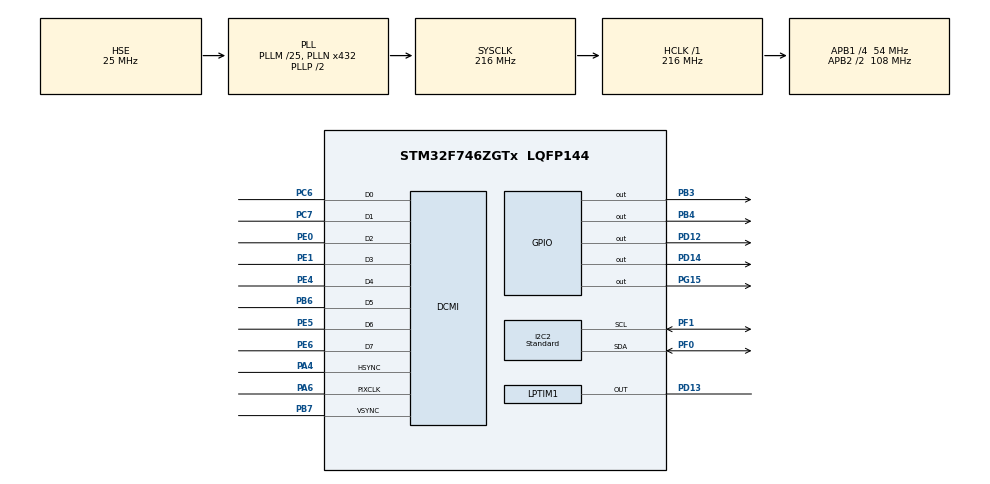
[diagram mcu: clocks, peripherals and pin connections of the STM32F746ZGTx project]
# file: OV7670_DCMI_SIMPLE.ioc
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CORTEX_M7.ART_ACCLERATOR_ENABLE=0
CORTEX_M7.CPU_DCache=Enabled
CORTEX_M7.CPU_ICache=Enabled
CORTEX_M7.PREFETCH_ENABLE=1
DCMI.PCKPolarity=DCMI_PCKPOLARITY_RISING
DCMI.VSPolarity=DCMI_VSPOLARITY_HIGH
Dma.DCMI.0.Direction=DMA_PERIPH_TO_MEMORY
Dma.DCMI.0.FIFOMode=DMA_FIFOMODE_DISABLE
Dma.DCMI.0.Instance=DMA2_Stream1
Dma.DCMI.0.MemDataAlignment=DMA_MDATAALIGN_WORD
Dma.DCMI.0.MemInc=DMA_MINC_ENABLE
Dma.DCMI.0.Mode=DMA_NORMAL
Dma.DCMI.0.PeriphDataAlignment=DMA_PDATAALIGN_WORD
Dma.DCMI.0.PeriphInc=DMA_PINC_DISABLE
Dma.DCMI.0.Priority=DMA_PRIORITY_LOW
Dma.Request0=DCMI
I2C2.Analog_Filter=I2C_ANALOGFILTER_DISABLE
I2C2.I2C_Speed_Mode=I2C_Standard
I2C2.Timing=0x10606AA0
LPTIM1.ClockPrescaler=LPTIM_PRESCALER_DIV1
Mcu.Family=STM32F7
Mcu.Name=STM32F746ZGTx
Mcu.Package=LQFP144
NVIC.DCMI_IRQn=true\:0\:0\:true\:false\:true\:true\:true
NVIC.DMA2_Stream1_IRQn=true\:0\:0\:true\:false\:true\:false\:true
NVIC.PriorityGroup=NVIC_PRIORITYGROUP_4
PA4.GPIO_PuPd=GPIO_PULLDOWN
PA4.GPIO_Speed=GPIO_SPEED_FREQ_VERY_HIGH
PA4.Mode=Slave_8_bits_External_Synchro
PA4.Signal=DCMI_HSYNC
PA6.GPIO_PuPd=GPIO_PULLDOWN
PA6.GPIO_Speed=GPIO_SPEED_FREQ_VERY_HIGH
PA6.Mode=Slave_8_bits_External_Synchro
PA6.Signal=DCMI_PIXCLK
PB3.Signal=GPIO_Output
PB4.Signal=GPIO_Output
PB6.GPIO_PuPd=GPIO_PULLDOWN
PB6.GPIO_Speed=GPIO_SPEED_FREQ_VERY_HIGH
PB6.Mode=Slave_8_bits_External_Synchro
PB6.Signal=DCMI_D5
PB7.GPIO_PuPd=GPIO_PULLDOWN
PB7.GPIO_Speed=GPIO_SPEED_FREQ_VERY_HIGH
PB7.Mode=Slave_8_bits_External_Synchro
PB7.Signal=DCMI_VSYNC
PC6.GPIO_PuPd=GPIO_PULLDOWN
PC6.GPIO_Speed=GPIO_SPEED_FREQ_VERY_HIGH
PC6.Mode=Slave_8_bits_External_Synchro
PC6.Signal=DCMI_D0
PC7.GPIO_PuPd=GPIO_PULLDOWN
PC7.GPIO_Speed=GPIO_SPEED_FREQ_VERY_HIGH
PC7.Mode=Slave_8_bits_External_Synchro
PC7.Signal=DCMI_D1
PD12.GPIO_PuPd=GPIO_PULLUP
PD12.Signal=GPIO_Output
PD13.GPIO_Speed=GPIO_SPEED_FREQ_VERY_HIGH
PD13.Mode=WaveformGeneration
PD13.Signal=LPTIM1_OUT
PD14.GPIO_PuPd=GPIO_PULLUP
PD14.Signal=GPIO_Output
PE0.GPIO_PuPd=GPIO_PULLDOWN
PE0.GPIO_Speed=GPIO_SPEED_FREQ_VERY_HIGH
PE0.Mode=Slave_8_bits_External_Synchro
PE0.Signal=DCMI_D2
PE1.GPIO_PuPd=GPIO_PULLDOWN
PE1.GPIO_Speed=GPIO_SPEED_FREQ_VERY_HIGH
PE1.Mode=Slave_8_bits_External_Synchro
PE1.Signal=DCMI_D3
PE4.GPIO_PuPd=GPIO_PULLDOWN
PE4.GPIO_Speed=GPIO_SPEED_FREQ_VERY_HIGH
PE4.Mode=Slave_8_bits_External_Synchro
PE4.Signal=DCMI_D4
PE5.GPIO_PuPd=GPIO_PULLDOWN
PE5.GPIO_Speed=GPIO_SPEED_FREQ_VERY_HIGH
PE5.Mode=Slave_8_bits_External_Synchro
PE5.Signal=DCMI_D6
PE6.GPIO_PuPd=GPIO_PULLDOWN
PE6.GPIO_Speed=GPIO_SPEED_FREQ_VERY_HIGH
PE6.Mode=Slave_8_bits_External_Synchro
PE6.Signal=DCMI_D7
PF0.Mode=I2C
PF0.Signal=I2C2_SDA
PF1.Mode=I2C
PF1.Signal=I2C2_SCL
PG15.Signal=GPIO_Output
PH0/OSC_IN.Mode=HSE-External-Oscillator
PH0/OSC_IN.Signal=RCC_OSC_IN
PH1/OSC_OUT.Mode=HSE-External-Oscillator
PH1/OSC_OUT.Signal=RCC_OSC_OUT
ProjectManager.HeapSize=0x200
ProjectManager.StackSize=0x400
ProjectManager.TargetToolchain=STM32CubeIDE
RCC.AHBFreq_Value=216000000
RCC.APB1CLKDivider=RCC_HCLK_DIV4
RCC.APB1Freq_Value=54000000
RCC.APB1TimFreq_Value=108000000
RCC.APB2CLKDivider=RCC_HCLK_DIV2
RCC.APB2Freq_Value=108000000
RCC.APB2TimFreq_Value=216000000
RCC.CortexFreq_Value=216000000
RCC.HCLKFreq_Value=216000000
RCC.HSE_VALUE=25000000
RCC.HSI_VALUE=16000000
RCC.LSE_VALUE=32768
RCC.PLLM=25
RCC.PLLN=432
RCC.PLLQ=9
RCC.PLLSourceVirtual=RCC_PLLSOURCE_HSE
RCC.SDMMCClockSelection=RCC_SDMMC1CLKSOURCE_CLK48
RCC.SYSCLKFreq_VALUE=216000000
RCC.SYSCLKSource=RCC_SYSCLKSOURCE_PLLCLK
RCC.USBFreq_Value=48000000
RCC.VCOOutputFreq_Value=432000000
VP_LPTIM1_VS_LPTIM_counterModeInternalClock.Mode=Counts__internal_clock_event_00
board=custom

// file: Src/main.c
/* USER CODE BEGIN Header */
/**
  ******************************************************************************
  * @file           : main.c
  * @brief          : Main program body
  ******************************************************************************
  * @attention
  *
  * <h2><center>&copy; Copyright (c) 2021 STMicroelectronics.
  * All rights reserved.</center></h2>
  *
  * This software component is licensed by ST under Ultimate Liberty license
  * SLA0044, the "License"; You may not use this file except in compliance with
  * the License. You may obtain a copy of the License at:
  *                             www.st.com/SLA0044
  *
  ******************************************************************************
  */
/* USER CODE END Header */

#include "main.h"

/* USER CODE BEGIN Includes */
#include <string.h>
#include <stdio.h>
#include <stdint.h>
#include <stdbool.h>
//Hardware
#include "SSD1963.h"
#include "OV7670.h"

#include "color_conversion.h"
/* USER CODE END Includes */

DCMI_HandleTypeDef hdcmi;
DMA_HandleTypeDef hdma_dcmi;

I2C_HandleTypeDef hi2c2;

LPTIM_HandleTypeDef hlptim1;

/* USER CODE BEGIN PV */
#define X_START 0
#define	Y_START 0
#define PX_SIZE 2

uint32_t image_data[352*144]; //max resolution is CIF

Camera_settings OV7670_settings={
		QVGA, 		//Resolution
		YUV422, 	//Format
		NORMAL, 	//Effect
		ON,			//AEC
		ON, 		//AGC
		ON, 		//AWB
		OFF,		//Color bar
		OFF,		//vertical flip
		OFF,		//Horizontal flip
		OFF,		//Night mode
		OFF,		//ASC
		ON,			//De-noise
		ON,			//Banding filter
		HISTOGRAM,	//AEC algorithm
		QUARTER_FPS,//Min. fps in night mode
		F_AUTO,		//Auto detect banding freq.
		256, 		//Exposure - 2 bytes
		4, 			//Gain	[0-7]=[1-128]
		160,		//Brightness - byte
		64, 		//Contrast - byte
		80, 		//Saturation - byte
		2,			//Sharpness	- [0-31]
		0,			//De-noise strength - byte
		x16, 		//Gain ceiling
		77, 		//R channel gain - byte
		103, 		//G channel gain - byte
		153			//B channel gain - byte
};

uint16_t i,j,k,pw,ph;
uint32_t temp=0;
int16_t Y1=0,Y2=0,U=0,V=0;
uint16_t width, height;
uint8_t format;
/* Private variables ---------------------------------------------------------*/
/* USER CODE END PV */

void SystemClock_Config(void);
static void MX_GPIO_Init(void);
static void MX_DMA_Init(void);
static void MX_I2C2_Init(void);
static void MX_DCMI_Init(void);
static void MX_LPTIM1_Init(void);
/* USER CODE BEGIN PFP */

/* Private function prototypes -----------------------------------------------*/

/* USER CODE END PFP */

int main(void)
{

  /* Enable I-Cache---------------------------------------------------------*/
  SCB_EnableICache();

  /* Enable D-Cache---------------------------------------------------------*/
  SCB_EnableDCache();

  /* MCU Configuration--------------------------------------------------------*/

  /* Reset of all peripherals, Initializes the Flash interface and the Systick. */
  HAL_Init();

  /* Configure the system clock */
  SystemClock_Config();

  /* Initialize all configured peripherals */
  MX_GPIO_Init();
  MX_DMA_Init();
  MX_I2C2_Init();
  MX_DCMI_Init();
  MX_LPTIM1_Init();
  /* USER CODE BEGIN 2 */

  OV7670_Power(DISABLE);
  Init_LCD_GPIO();
  SSD1963_Init();
  SSD1963_ClearScreen(0);
  //I2C2 is used for SCCB and LPTIM1 for XLCK generation
  OV7670_Init(&hdcmi, &hdma_dcmi, &hi2c2, &hlptim1);

  OV7670_PowerUp();
  OV7670_UpdateSettings(OV7670_settings);
  OV7670_SetFrameRate(XCLK_DIV(1), PLL_x4);
  HAL_Delay(10);

  OV7670_Start(CONTINUOUS, image_data);
  OV7670_getImageInfo(&width,&height,&format);
  HAL_Delay(100);

  /* USER CODE END 2 */

  /* Infinite loop */
  while (1)
  {

    /* USER CODE BEGIN 3 */

	for(k=0;k<2;k++) //interleved drawing - image looks more fluent
	{
		for(i=k;i<height;i++)
		{
			//Write directly to display (SSD1963), don't use GUI - FASTEST!!!
			SSD1963_SetArea(X_START, X_START+(width*PX_SIZE)-1, Y_START+i*PX_SIZE, Y_START+(i+1)*PX_SIZE);
			SSD1963_WriteCommand(SSD1963_WRITE_MEMORY_START);

			for(ph=0;ph<PX_SIZE;ph++)
			{
				for(j = 0; j < (((width)/2)); j++)
				{
					temp=image_data[j+i*(width/2)];  // temp contains 2 pixel values

					if(format==YUV422)	//YUV422
					{
						//Extract YUV
						  Y2=(temp>>24)&0x00FF;
						  U=((temp>>16)&0x00FF)-128;
						  Y1=(temp>>8)&0x00FF;
						  V=(temp&0x00FF)-128;
						  for(pw=0;pw<PX_SIZE;pw++)SSD1963_WriteData(YUVtoRGB565(Y1,U,V));
						  for(pw=0;pw<PX_SIZE;pw++)SSD1963_WriteData(YUVtoRGB565(Y2,U,V));
					}
					else				//RGB565
					{
						for(pw=0;pw<PX_SIZE;pw++)SSD1963_WriteData(temp&0xFFFF);
						for(pw=0;pw<PX_SIZE;pw++)SSD1963_WriteData((temp>>16)&0xFFFF);
					}
				}
			}
			i++; //skip 1 line - interleved drawing
		}
	}
}
  /* USER CODE END 3 */
}

void SystemClock_Config(void)
{
  RCC_OscInitTypeDef RCC_OscInitStruct = {0};
  RCC_ClkInitTypeDef RCC_ClkInitStruct = {0};
  RCC_PeriphCLKInitTypeDef PeriphClkInitStruct = {0};

  /** Configure the main internal regulator output voltage
  */
  __HAL_RCC_PWR_CLK_ENABLE();
  __HAL_PWR_VOLTAGESCALING_CONFIG(PWR_REGULATOR_VOLTAGE_SCALE1);
  /** Initializes the CPU, AHB and APB busses clocks
  */
  RCC_OscInitStruct.OscillatorType = RCC_OSCILLATORTYPE_HSE;
  RCC_OscInitStruct.HSEState = RCC_HSE_ON;
  RCC_OscInitStruct.PLL.PLLState = RCC_PLL_ON;
  RCC_OscInitStruct.PLL.PLLSource = RCC_PLLSOURCE_HSE;
  RCC_OscInitStruct.PLL.PLLM = 25;
  RCC_OscInitStruct.PLL.PLLN = 432;
  RCC_OscInitStruct.PLL.PLLP = RCC_PLLP_DIV2;
  RCC_OscInitStruct.PLL.PLLQ = 9;
  if (HAL_RCC_OscConfig(&RCC_OscInitStruct) != HAL_OK)
  {
    Error_Handler();
  }
  /** Activate the Over-Drive mode
  */
  if (HAL_PWREx_EnableOverDrive() != HAL_OK)
  {
    Error_Handler();
  }
  /** Initializes the CPU, AHB and APB busses clocks
  */
  RCC_ClkInitStruct.ClockType = RCC_CLOCKTYPE_HCLK|RCC_CLOCKTYPE_SYSCLK
                              |RCC_CLOCKTYPE_PCLK1|RCC_CLOCKTYPE_PCLK2;
  RCC_ClkInitStruct.SYSCLKSource = RCC_SYSCLKSOURCE_PLLCLK;
  RCC_ClkInitStruct.AHBCLKDivider = RCC_SYSCLK_DIV1;
  RCC_ClkInitStruct.APB1CLKDivider = RCC_HCLK_DIV4;
  RCC_ClkInitStruct.APB2CLKDivider = RCC_HCLK_DIV2;

  if (HAL_RCC_ClockConfig(&RCC_ClkInitStruct, FLASH_LATENCY_7) != HAL_OK)
  {
    Error_Handler();
  }
  PeriphClkInitStruct.PeriphClockSelection = RCC_PERIPHCLK_LPTIM1|RCC_PERIPHCLK_I2C2;
  PeriphClkInitStruct.I2c2ClockSelection = RCC_I2C2CLKSOURCE_PCLK1;
  PeriphClkInitStruct.Lptim1ClockSelection = RCC_LPTIM1CLKSOURCE_PCLK;
  if (HAL_RCCEx_PeriphCLKConfig(&PeriphClkInitStruct) != HAL_OK)
  {
    Error_Handler();
  }
}

static void MX_DCMI_Init(void)
{

  hdcmi.Instance = DCMI;
  hdcmi.Init.SynchroMode = DCMI_SYNCHRO_HARDWARE;
  hdcmi.Init.PCKPolarity = DCMI_PCKPOLARITY_RISING;
  hdcmi.Init.VSPolarity = DCMI_VSPOLARITY_HIGH;
  hdcmi.Init.HSPolarity = DCMI_HSPOLARITY_LOW;
  hdcmi.Init.CaptureRate = DCMI_CR_ALL_FRAME;
  hdcmi.Init.ExtendedDataMode = DCMI_EXTEND_DATA_8B;
  hdcmi.Init.JPEGMode = DCMI_JPEG_DISABLE;
  hdcmi.Init.ByteSelectMode = DCMI_BSM_ALL;
  hdcmi.Init.ByteSelectStart = DCMI_OEBS_ODD;
  hdcmi.Init.LineSelectMode = DCMI_LSM_ALL;
  hdcmi.Init.LineSelectStart = DCMI_OELS_ODD;
  if (HAL_DCMI_Init(&hdcmi) != HAL_OK)
  {
    Error_Handler();
  }

}

static void MX_I2C2_Init(void)
{

  hi2c2.Instance = I2C2;
  hi2c2.Init.Timing = 0x10606AA0;
  hi2c2.Init.OwnAddress1 = 0;
  hi2c2.Init.AddressingMode = I2C_ADDRESSINGMODE_7BIT;
  hi2c2.Init.DualAddressMode = I2C_DUALADDRESS_DISABLE;
  hi2c2.Init.OwnAddress2 = 0;
  hi2c2.Init.OwnAddress2Masks = I2C_OA2_NOMASK;
  hi2c2.Init.GeneralCallMode = I2C_GENERALCALL_DISABLE;
  hi2c2.Init.NoStretchMode = I2C_NOSTRETCH_DISABLE;
  if (HAL_I2C_Init(&hi2c2) != HAL_OK)
  {
    Error_Handler();
  }
  /** Configure Analogue filter
  */
  if (HAL_I2CEx_ConfigAnalogFilter(&hi2c2, I2C_ANALOGFILTER_DISABLE) != HAL_OK)
  {
    Error_Handler();
  }
  /** Configure Digital filter
  */
  if (HAL_I2CEx_ConfigDigitalFilter(&hi2c2, 0) != HAL_OK)
  {
    Error_Handler();
  }

}

static void MX_LPTIM1_Init(void)
{

  hlptim1.Instance = LPTIM1;
  hlptim1.Init.Clock.Source = LPTIM_CLOCKSOURCE_APBCLOCK_LPOSC;
  hlptim1.Init.Clock.Prescaler = LPTIM_PRESCALER_DIV1;
  hlptim1.Init.Trigger.Source = LPTIM_TRIGSOURCE_SOFTWARE;
  hlptim1.Init.OutputPolarity = LPTIM_OUTPUTPOLARITY_HIGH;
  hlptim1.Init.UpdateMode = LPTIM_UPDATE_IMMEDIATE;
  hlptim1.Init.CounterSource = LPTIM_COUNTERSOURCE_INTERNAL;
  if (HAL_LPTIM_Init(&hlptim1) != HAL_OK)
  {
    Error_Handler();
  }

}

static void MX_DMA_Init(void)
{

  /* DMA controller clock enable */
  __HAL_RCC_DMA2_CLK_ENABLE();

  /* DMA interrupt init */
  /* DMA2_Stream1_IRQn interrupt configuration */
  HAL_NVIC_SetPriority(DMA2_Stream1_IRQn, 0, 0);
  HAL_NVIC_EnableIRQ(DMA2_Stream1_IRQn);

}

static void MX_GPIO_Init(void)
{
  GPIO_InitTypeDef GPIO_InitStruct = {0};

  /* GPIO Ports Clock Enable */
  __HAL_RCC_GPIOE_CLK_ENABLE();
  __HAL_RCC_GPIOF_CLK_ENABLE();
  __HAL_RCC_GPIOH_CLK_ENABLE();
  __HAL_RCC_GPIOA_CLK_ENABLE();
  __HAL_RCC_GPIOD_CLK_ENABLE();
  __HAL_RCC_GPIOC_CLK_ENABLE();
  __HAL_RCC_GPIOG_CLK_ENABLE();
  __HAL_RCC_GPIOB_CLK_ENABLE();

  /*Configure GPIO pin Output Level */
  HAL_GPIO_WritePin(GPIOD, GPIO_PIN_12|GPIO_PIN_14, GPIO_PIN_RESET);

  /*Configure GPIO pin Output Level */
  HAL_GPIO_WritePin(GPIOG, GPIO_PIN_15, GPIO_PIN_RESET);

  /*Configure GPIO pin Output Level */
  HAL_GPIO_WritePin(GPIOB, GPIO_PIN_3|GPIO_PIN_4, GPIO_PIN_RESET);

  /*Configure GPIO pins : PD12 PD14 */
  GPIO_InitStruct.Pin = GPIO_PIN_12|GPIO_PIN_14;
  GPIO_InitStruct.Mode = GPIO_MODE_OUTPUT_PP;
  GPIO_InitStruct.Pull = GPIO_PULLUP;
  GPIO_InitStruct.Speed = GPIO_SPEED_FREQ_LOW;
  HAL_GPIO_Init(GPIOD, &GPIO_InitStruct);

  /*Configure GPIO pin : PG15 */
  GPIO_InitStruct.Pin = GPIO_PIN_15;
  GPIO_InitStruct.Mode = GPIO_MODE_OUTPUT_PP;
  GPIO_InitStruct.Pull = GPIO_NOPULL;
  GPIO_InitStruct.Speed = GPIO_SPEED_FREQ_LOW;
  HAL_GPIO_Init(GPIOG, &GPIO_InitStruct);

  /*Configure GPIO pins : PB3 PB4 */
  GPIO_InitStruct.Pin = GPIO_PIN_3|GPIO_PIN_4;
  GPIO_InitStruct.Mode = GPIO_MODE_OUTPUT_PP;
  GPIO_InitStruct.Pull = GPIO_NOPULL;
  GPIO_InitStruct.Speed = GPIO_SPEED_FREQ_LOW;
  HAL_GPIO_Init(GPIOB, &GPIO_InitStruct);

}

void Error_Handler(void)
{
  while(1)
  {
  }
}

/************************ (C) COPYRIGHT STMicroelectronics *****END OF FILE****/
